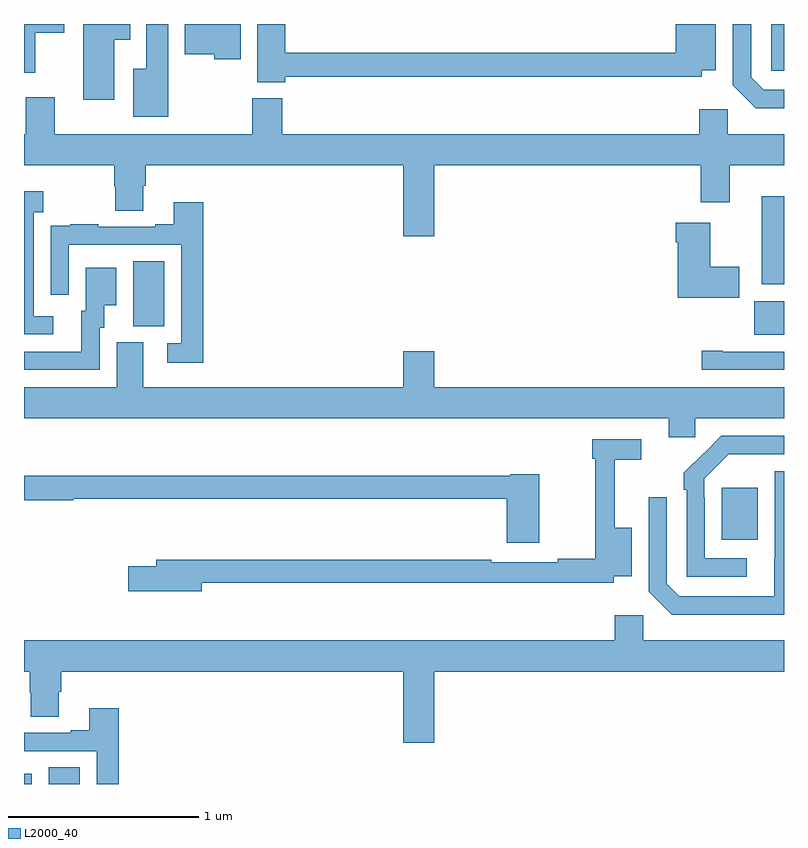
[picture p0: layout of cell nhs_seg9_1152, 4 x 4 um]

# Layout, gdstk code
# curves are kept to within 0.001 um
import gdstk
lib = gdstk.Library(unit=1e-6, precision=1e-09)
def R(c, l, rs):  # rectangles x0, y0, x1, y1
    for r in rs: c.add(gdstk.rectangle(r[:2], r[2:], *l))
def P(c, l, *ps):  # polygons
    for p in ps: c.add(gdstk.Polygon(p, *l))
L2000_40 = (2000, 40)

nhs_seg9_1152 = lib.new_cell('nhs_seg9_1152')
R(nhs_seg9_1152, L2000_40, [(175,1190.5,175.042,1190.554), (175.13,1190.5,175.294,1190.588), (178.673,1191.785,178.861,1192.06), (178.844,1192.865,179,1193.041), (175.574,1192.909,175.738,1193.252), (178.883,1193.129,179,1193.593), (178.932,1194.255,179,1194.5)])
P(nhs_seg9_1152, L2000_40, [(179,1194.153),(178.893,1194.153),(178.827,1194.219),(178.827,1194.5),(178.731,1194.5),(178.731,1194.177),(178.852,1194.056),(179,1194.056)],
  [(175.06,1194.454),(175.213,1194.454),(175.213,1194.5),(175,1194.5),(175,1194.243),(175.06,1194.243)],
  [(175.759,1194.5),(175.643,1194.5),(175.643,1194.265),(175.574,1194.265),(175.574,1194.011),(175.759,1194.011)],
  [(175.474,1194.416),(175.558,1194.416),(175.558,1194.5),(175.313,1194.5),(175.313,1194.102),(175.474,1194.102)],
  [(176.375,1194.222),(178.566,1194.222),(178.566,1194.257),(178.642,1194.257),(178.642,1194.5),(178.43,1194.5),(178.43,1194.35),(176.375,1194.35),(176.375,1194.5),(176.228,1194.5),(176.228,1194.194),(176.375,1194.194)],
  [(176.14,1194.5),(175.847,1194.5),(175.847,1194.341),(176.001,1194.341),(176.001,1194.314),(176.14,1194.314)],
  [(177.16,1193.756),(178.562,1193.756),(178.562,1193.562),(178.714,1193.562),(178.714,1193.756),(179,1193.756),(179,1193.92),(178.704,1193.92),(178.704,1194.052),(178.553,1194.052),(178.553,1193.92),(176.36,1193.92),(176.36,1194.109),(176.2,1194.109),(176.2,1193.92),(175.162,1193.92),(175.162,1194.115),(175.01,1194.115),(175.01,1193.92),(175,1193.92),(175,1193.756),(175.475,1193.756),(175.475,1193.643),(175.48,1193.643),(175.48,1193.518),(175.627,1193.518),(175.627,1193.65),(175.64,1193.65),(175.64,1193.756),(176.996,1193.756),(176.996,1193.382),(177.16,1193.382)],
  [(175.153,1192.962),(175.05,1192.962),(175.05,1193.51),(175.102,1193.51),(175.102,1193.62),(175,1193.62),(175,1192.866),(175.153,1192.866)],
  [(175.943,1193.563),(175.787,1193.563),(175.787,1193.446),(175.691,1193.446),(175.691,1193.433),(175.391,1193.433),(175.391,1193.446),(175.243,1193.446),(175.243,1193.439),(175.141,1193.439),(175.141,1193.33),(175.14,1193.33),(175.14,1193.076),(175.236,1193.076),(175.236,1193.337),(175.827,1193.337),(175.827,1192.821),(175.755,1192.821),(175.755,1192.716),(175.943,1192.716)],
  [(178.765,1193.223),(178.612,1193.223),(178.612,1193.455),(178.43,1193.455),(178.43,1193.351),(178.442,1193.351),(178.442,1193.06),(178.765,1193.06)],
  [(175.398,1192.902),(175.423,1192.902),(175.423,1193.021),(175.486,1193.021),(175.486,1193.218),(175.325,1193.218),(175.325,1192.992),(175.301,1192.992),(175.301,1192.776),(175,1192.776),(175,1192.68),(175.398,1192.68)],
  [(178.533,1192.424),(179,1192.424),(179,1192.588),(177.16,1192.588),(177.16,1192.777),(176.996,1192.777),(176.996,1192.588),(175.627,1192.588),(175.627,1192.824),(175.487,1192.824),(175.487,1192.588),(175,1192.588),(175,1192.424),(178.394,1192.424),(178.394,1192.326),(178.533,1192.326)],
  [(179,1192.776),(178.678,1192.776),(178.678,1192.781),(178.566,1192.781),(178.566,1192.68),(179,1192.68)],
  [(178.804,1191.687),(178.584,1191.687),(178.584,1192.007),(178.581,1192.007),(178.581,1192.107),(178.71,1192.236),(179,1192.236),(179,1192.332),(178.67,1192.332),(178.473,1192.137),(178.473,1192.049),(178.488,1192.049),(178.488,1191.591),(178.804,1191.591)],
  [(175.936,1191.558),(178.104,1191.558),(178.104,1191.593),(178.198,1191.593),(178.198,1191.85),(178.109,1191.85),(178.109,1192.206),(178.249,1192.206),(178.249,1192.314),(177.991,1192.314),(177.991,1192.211),(178.006,1192.211),(178.006,1191.686),(177.808,1191.686),(177.808,1191.666),(177.458,1191.666),(177.458,1191.679),(175.697,1191.679),(175.697,1191.645),(175.548,1191.645),(175.548,1191.515),(175.936,1191.515)],
  [(179,1192.146),(178.95,1192.146),(178.95,1191.689),(178.949,1191.689),(178.949,1191.489),(178.449,1191.489),(178.383,1191.555),(178.383,1192.009),(178.287,1192.009),(178.287,1191.513),(178.408,1191.392),(179,1191.392)],
  [(177.712,1192.131),(177.558,1192.131),(177.558,1192.123),(175,1192.123),(175,1191.994),(175.258,1191.994),(175.258,1192.002),(177.542,1192.002),(177.542,1191.771),(177.712,1191.771)],
  [(177.16,1191.092),(179,1191.092),(179,1191.256),(178.26,1191.256),(178.26,1191.388),(178.109,1191.388),(178.109,1191.256),(175,1191.256),(175,1191.092),(175.031,1191.092),(175.031,1190.979),(175.036,1190.979),(175.036,1190.854),(175.183,1190.854),(175.183,1190.986),(175.196,1190.986),(175.196,1191.092),(176.996,1191.092),(176.996,1190.718),(177.16,1190.718)],
  [(175.499,1190.899),(175.343,1190.899),(175.343,1190.782),(175.247,1190.782),(175.247,1190.769),(175,1190.769),(175,1190.673),(175.383,1190.673),(175.383,1190.5),(175.499,1190.5)])

lib.write_gds('nhs_seg9_1152.gds')
